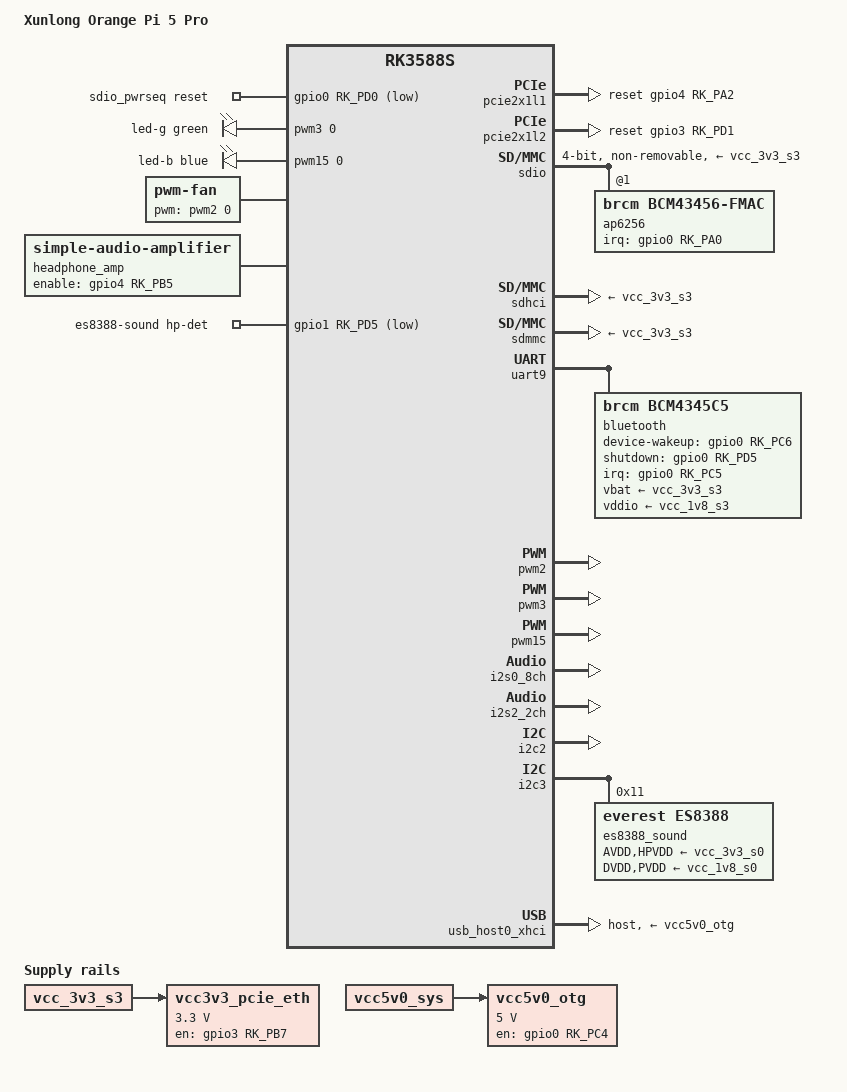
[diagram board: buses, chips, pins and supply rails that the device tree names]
// SPDX-License-Identifier: (GPL-2.0+ OR MIT)

/dts-v1/;

#include "rk3588s-orangepi-5.dtsi"

/ {
	model = "Xunlong Orange Pi 5 Pro";
	compatible = "xunlong,orangepi-5-pro", "rockchip,rk3588s";

	/delete-node/ chosen;
	chosen {
        stdout-path = "serial2:1500000n8";
        entropy-source = <&rng>;
    };

	aliases {
		mmc0 = &sdhci;
		mmc1 = &sdmmc;
	};
	
	/delete-node/ rng;
	rng: rng@fe378000 {
		compatible = "rockchip,rk3588-rng";
		reg = <0x0 0xfe378000 0x0 0x200>;
		interrupts = <GIC_SPI 400 IRQ_TYPE_LEVEL_HIGH 0>;
		clocks = <&scmi_clk SCMI_HCLK_SECURE_NS>;
		resets = <&scmi_reset 48>;
	};

	vcc3v3_pcie_eth: vcc3v3-pcie-eth {
		compatible = "regulator-fixed";
		regulator-name = "vcc3v3_pcie_eth";
		regulator-min-microvolt = <3300000>;
		regulator-max-microvolt = <3300000>;
		regulator-boot-on;
		regulator-always-on;
		enable-active-high;
		gpios = <&gpio3 RK_PB7 GPIO_ACTIVE_LOW>;
		vin-supply = <&vcc_3v3_s3>;
	};

	vcc5v0_otg: vcc5v0-otg {
		compatible = "regulator-fixed";
		regulator-name = "vcc5v0_otg";
		regulator-min-microvolt = <5000000>;
		regulator-max-microvolt = <5000000>;
		enable-active-high;
		gpio = <&gpio0 RK_PC4 GPIO_ACTIVE_HIGH>;
		pinctrl-names = "default";
		pinctrl-0 = <&vcc5v0_otg_en>;
		vin-supply = <&vcc5v0_sys>;
		regulator-boot-on;
		regulator-always-on;
	};

	/delete-node/ vcc_3v3_sd_s0;

	sdio_pwrseq: sdio-pwrseq {
		compatible = "mmc-pwrseq-simple";
		post-power-on-delay-ms = <200>;
		reset-gpios = <&gpio0 RK_PD0 GPIO_ACTIVE_LOW>;
	};

	/* The DP0 controller lacks driver support.
	dp_en: dp-en {
		compatible = "regulator-fixed";
		regulator-name = "dp_en";
		regulator-min-microvolt = <3300000>;
		regulator-max-microvolt = <3300000>;
		enable-active-high;
		regulator-boot-on;
		regulator-always-on;
		gpios = <&gpio3 RK_PC2 GPIO_ACTIVE_HIGH>;
		vin-supply = <&vcc_3v3_s3>;
	};
	*/

	/delete-node/ pwm-leds;
	pwm-leds {
        compatible = "pwm-leds";

        led-g {
            color = <LED_COLOR_ID_GREEN>;
            function = LED_FUNCTION_STATUS;
            linux,default-trigger = "heartbeat";
            max-brightness = <255>;
            pwms = <&pwm3 0 25000 0>;
        };

		led-b {
            color = <LED_COLOR_ID_BLUE>;
            function = LED_FUNCTION_STATUS;
            linux,default-trigger = "none";
            max-brightness = <0>; // Desync compared with Green LED
            pwms = <&pwm15 0 25000 0>;
        };
    };

	fan: pwm-fan {
		compatible = "pwm-fan";
		#cooling-cells = <2>;
		pwms = <&pwm2 0 20000000 0>;
		cooling-levels = <0 50 100 150 200 255>;
		rockchip,temp-trips = <
			50000   1
			55000   2
			60000   3
			65000   4
			70000   5
		>;
		status = "okay";
	};

	/delete-node/ regulator-vcc-3v3-sd-s0;
	/delete-node/ vbus_typec;
	/delete-node/ analog-sound;

	headphone_amp: headphones-audio-amplifier {
		compatible = "simple-audio-amplifier";
		sound-name-prefix = "Headphones Amp";
		enable-gpios = <&gpio4 RK_PB5 GPIO_ACTIVE_HIGH>;
	};

	es8388-sound {
		compatible = "simple-audio-card";
		pinctrl-names = "default";
		pinctrl-0 = <&hp_detect>;
		simple-audio-card,name = "rockchip,es8388";
		simple-audio-card,bitclock-master = <&daicpu>;
		simple-audio-card,format = "i2s";
		simple-audio-card,frame-master = <&daicpu>;
		simple-audio-card,aux-devs = <&headphone_amp>;
		simple-audio-card,hp-det-gpios = <&gpio1 RK_PD5 GPIO_ACTIVE_LOW>;
		simple-audio-card,mclk-fs = <256>;
		simple-audio-card,pin-switches = "Headphones";
		simple-audio-card,routing =
			"Headphones", "LOUT1",
			"Headphones", "ROUT1",

			"Headphones", "Headphones Amp OUTL",
			"Headphones", "Headphones Amp OUTR",
			"Headphones Amp INL", "LOUT1",
			"Headphones Amp INR", "ROUT1",

			"LINPUT1", "Microphone Jack",
			"RINPUT1", "Microphone Jack",
			"LINPUT2", "Onboard Microphone",
			"RINPUT2", "Onboard Microphone";
		simple-audio-card,widgets =
			"Microphone", "Microphone Jack",
			"Microphone", "Onboard Microphone",
			"Headphone", "Headphones";

		daicpu: simple-audio-card,cpu {
			sound-dai = <&i2s2_2ch>;
			system-clock-frequency = <12288000>;
		};

		masterdai: simple-audio-card,codec {
			sound-dai = <&es8388_sound>;
			system-clock-frequency = <12288000>;
		};
	};
};

&pinctrl {
	sdio-pwrseq {
		wifi_enable_h: wifi-enable-h {
			rockchip,pins = <0 RK_PD0 RK_FUNC_GPIO &pcfg_pull_none>;
		};
	};
	
	wireless-bluetooth {
		bt_reg_on: bt-reset-gpio { // BT_REG_ON_H
			rockchip,pins = <0 RK_PD5 RK_FUNC_GPIO &pcfg_pull_none>;
		};

		host_wake_bt: bt-wake-gpio { // HOST_WAKE_BT_H
			rockchip,pins = <0 RK_PC6 RK_FUNC_GPIO &pcfg_pull_none>;
		};

		bt_wake_host: bt-irq-gpio { // BT_WAKE_HOST_H
			rockchip,pins = <0 RK_PC5 RK_FUNC_GPIO &pcfg_pull_down>;
		};
	};

	wireless-wlan {
		wifi_host_wake_irq: wifi-host-wake-irq {
			rockchip,pins = <0 RK_PA0 RK_FUNC_GPIO &pcfg_pull_down>;
		};
	};

	usb {
		vcc5v0_otg_en: vcc5v0-otg-en {
			rockchip,pins = <0 RK_PC4 RK_FUNC_GPIO &pcfg_pull_none>;
		};
	};

	dp0 {
		dp0_hpd: dp0-hpd {
			rockchip,pins = <4 RK_PB4 RK_FUNC_GPIO &pcfg_pull_none>;
		};
	};

	i2s2 {
		/omit-if-no-ref/
		i2s2m1_idle: i2s2m1-idle {
			rockchip,pins =
				/* i2s2m1_lrck_gpio */
				<3 RK_PB6 0 &pcfg_pull_none>,
				/* i2s2m1_sclk_gpio */
				<3 RK_PB5 0 &pcfg_pull_none>;
		};
	};
};

&pcie2x1l1 {
	reset-gpios = <&gpio4 RK_PA2 GPIO_ACTIVE_HIGH>;
	status = "okay";
};

&pcie2x1l2 {
	reset-gpios = <&gpio3 RK_PD1 GPIO_ACTIVE_HIGH>;
	status = "okay";
};

&gmac1 {
	status = "disabled";
};

&sdio {
	max-frequency = <150000000>;
	no-sd;
	no-mmc;
	bus-width = <4>;
	disable-wp;
	cap-sd-highspeed;
	cap-sdio-irq;
	keep-power-in-suspend;
	vmmc-supply = <&vcc_3v3_s3>;
	mmc-pwrseq = <&sdio_pwrseq>;
	non-removable;
	pinctrl-names = "default";
	pinctrl-0 = <&sdiom1_pins>;
	sd-uhs-sdr104;
	status = "okay";

	ap6256: wifi@1 {
		compatible = "brcm,bcm43456-fmac", "brcm,bcm4329-fmac";
		reg = <1>;
		interrupt-parent = <&gpio0>;
		interrupts = <RK_PA0 IRQ_TYPE_LEVEL_HIGH>;
		interrupt-names = "host-wake";
		pinctrl-names = "default";
		pinctrl-0 = <&wifi_host_wake_irq>;
	};
};

&sdhci {
	status = "okay";
	vmmc-supply = <&vcc_3v3_s3>;
};

&sdmmc {
	status = "okay";
	vmmc-supply = <&vcc_3v3_s3>;
};

&uart9 {
	status = "okay";
	uart-has-rtscts;
	pinctrl-0 = <&uart9m2_xfer &uart9m2_ctsn>;

	bluetooth {
		compatible = "brcm,bcm4345c5";
		clocks = <&hym8563>;
		clock-names = "lpo";
		interrupt-parent = <&gpio0>;
		interrupts = <RK_PC5 IRQ_TYPE_LEVEL_HIGH>;
		interrupt-names = "host-wakeup";
		device-wakeup-gpios = <&gpio0 RK_PC6 GPIO_ACTIVE_HIGH>;
		shutdown-gpios = <&gpio0 RK_PD5 GPIO_ACTIVE_HIGH>;
		max-speed = <1500000>;
		pinctrl-names = "default";
		pinctrl-0 = <&bt_wake_host &host_wake_bt>;
		vbat-supply = <&vcc_3v3_s3>;
		vddio-supply = <&vcc_1v8_s3>;
	};
};

&pwm0 {
	status = "disabled";
};

&pwm2 {
	pinctrl-0 = <&pwm2m1_pins>;
	pinctrl-names = "default";
	status = "okay";
};

&pwm3 {
	pinctrl-0 = <&pwm3m2_pins>;
	pinctrl-names = "default";
	status = "okay";
};

&pwm15 {
	pinctrl-0 = <&pwm15m2_pins>;
	pinctrl-names = "default";
	status = "okay";
};

// Bluetooth i2S
&i2s0_8ch {
	status = "okay";
};

&i2s1_8ch {
	status = "disabled";
};

&i2s2_2ch {
	pinctrl-names = "default";
	pinctrl-0 = <&i2s2m1_lrck
			&i2s2m1_mclk
			&i2s2m1_sclk
			&i2s2m1_sdi
			&i2s2m1_sdo>;
	status = "okay";
};

&i2c2 {
	status = "okay";
};

&i2c3 {
	status = "okay";

	es8388_sound: audio-codec@11 {
		compatible = "everest,es8388", "everest,es8328";
		reg = <0x11>;
		clocks = <&cru I2S2_2CH_MCLKOUT>;
		AVDD-supply = <&vcc_3v3_s0>;
		DVDD-supply = <&vcc_1v8_s0>;
		HPVDD-supply = <&vcc_3v3_s0>;
		PVDD-supply = <&vcc_1v8_s0>;
		assigned-clocks = <&cru I2S2_2CH_MCLKOUT>;
		assigned-clock-rates = <12288000>;
		#sound-dai-cells = <0>;
		status = "okay";
	};
};

&i2c6 {
	/delete-node/ es8388;
	/delete-node/ usbc0;
};

&hdmi0_sound {
	simple-audio-card,cpu {
		sound-dai = <&i2s5_8ch>;
	};
};

&usbc0 {
	status = "disabled";
};

&usb_host0_xhci {
	/delete-property/ usb-role-switch;
	dr_mode = "host";
	vbus-supply = <&vcc5v0_otg>;

	snps,parkmode-disable-hs-quirk;
	snps,parkmode-disable-ss-quirk;
	quirk-skip-phy-init;

	/delete-node/ port;
};

&usb_con {
	/delete-node/ ports;
};

&usbdp_phy0 {
	/delete-property/ sbu1-dc-gpios;
    /delete-property/ sbu2-dc-gpios;
	/delete-property/ mode-switch;
	/delete-property/ orientation-switch;
	rockchip,dp-lane-mux = <0 1>;
};

&usbdp_phy0_typec_ss {
	/delete-property/ remote-endpoint;
};

&usbdp_phy0_typec_sbu {
	/delete-property/ remote-endpoint;
};

&usb_host2_xhci {
	snps,parkmode-disable-hs-quirk;
	snps,parkmode-disable-ss-quirk;
};

/* The DP0 controller lacks driver support. 
&vp1 {
	vp1_out_dp0: endpoint@ROCKCHIP_VOP2_EP_DP0 {
		reg = <ROCKCHIP_VOP2_EP_DP0>;
		remote-endpoint = <&dp0_in_vp1>;
	};
};
*/

&tsadc {
	rockchip,grf = <&sys_grf>;
};
